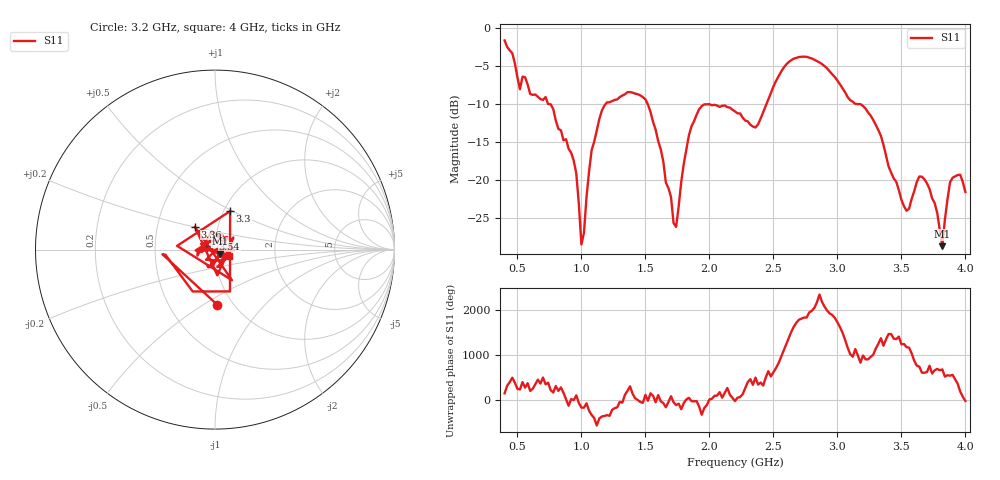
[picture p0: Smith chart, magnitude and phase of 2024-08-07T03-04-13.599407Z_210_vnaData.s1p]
!Created with skrf (http://scikit-rf.org).
# Hz S RI R 50.0
!freq ReS11 ImS11
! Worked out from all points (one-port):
!   181 points, 400 MHz to 4 GHz, reference 50 ohm
!   lowest |S11| = -28.7 dB at 3.82 GHz (marker M1), VSWR 1.08, Z = 52.9 - j2.45 ohm
!   |S11| at or under -10 dB: 739.3 MHz to 1.191 GHz (451.3 MHz wide, 46.8 % of centre); 1.517 GHz to 2.447 GHz (929.3 MHz wide, 46.9 % of centre); 3.139 GHz to end of sweep
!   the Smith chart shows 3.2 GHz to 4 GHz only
!   S11 on the Smith chart (normalised r, x): 3.2 GHz: 0.85, -0.57; 3.3 GHz: 1.07, +0.48; 3.36 GHz: 0.77, +0.20; 3.54 GHz: 0.97, +0.12; 4 GHz: 1.16, -0.08
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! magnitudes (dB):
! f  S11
! 400 MHz  -1.7
! 520 MHz  -8.1
! 720 MHz  -9.1
! 860 MHz  -14.8
! 960 MHz  -19.2
! 1 GHz  -28.5
! 1.08 GHz  -16.1
! 1.14 GHz  -12.0
! 1.3 GHz  -9.1
! 1.5 GHz  -9.4
! 1.62 GHz  -16.0
! 1.72 GHz  -25.7
! 1.76 GHz  -23.5
! 1.84 GHz  -14.1
! 1.92 GHz  -10.7
! 2.2 GHz  -11.0
! 2.36 GHz  -13.1
! 2.66 GHz  -4.1
! 3.1 GHz  -9.5
! 3.2 GHz  -10.3
! 3.3 GHz  -12.8
! 3.36 GHz  -15.4
! 3.54 GHz  -24.1
! 3.56 GHz  -23.8
! 3.68 GHz  -19.9
! 3.82 GHz  -28.7
! 3.88 GHz  -20.3
! 4 GHz  -21.6
